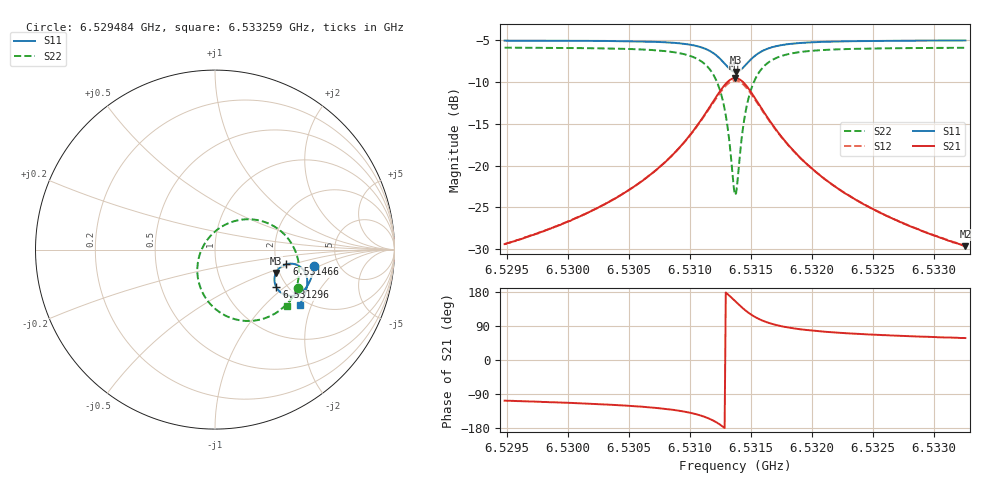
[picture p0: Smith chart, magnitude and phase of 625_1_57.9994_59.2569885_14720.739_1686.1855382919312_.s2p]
#  HZ  S  RI  R  50.00
! Rohde & Schwarz Vector Network Analyzer
! Rohde-Schwarz,ZNB20-2Port,1311601062101988,3.16
! Created: UTC 3/21/2024, 1:18:17 AM
! freq[Hz]  re:S11  im:S11  re:S21  im:S21  re:S12  im:S12  re:S22  im:S22
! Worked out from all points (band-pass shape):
!   401 points, 6.529484 GHz to 6.533259 GHz, reference 50 ohm
!   highest |S21| = -9.53 dB at 6.531371 GHz (marker M1); lowest = -29.7 dB at 6.533259 GHz (marker M2)
!   |S21| within 3 dB of the highest: 6.531184 GHz to 6.531561 GHz (377.6 kHz wide, 0.00578 % of centre)
!   lowest |S11| = -8.8 dB at 6.531381 GHz (marker M3), VSWR 2.14, Z = 95.6 - j28.8 ohm
!   |S11| at or under -10 dB: nowhere
!   |S22| runs from -23.5 to -5.9 dB; largest |S21 - S12| = 0.014
!   S11 on the Smith chart (normalised r, x): 6.529484 GHz: 3.29, -0.89; 6.531296 GHz: 1.76, -0.88; 6.531466 GHz: 2.26, -0.44; 6.533259 GHz: 1.83, -1.64
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6.5294838e9  0.5529 -0.0929  -0.01 -0.0323  -0.0107 -0.0321  0.4625 -0.2113
6.5301161e9  0.5399 -0.1463  -0.0208 -0.0456  -0.0219 -0.0451  0.4268 -0.2707
6.5304275e9  0.5286 -0.1757  -0.0324 -0.0574  -0.034 -0.0566  0.3959 -0.3073
6.5307484e9  0.5081 -0.2113  -0.0589 -0.0774  -0.0611 -0.0756  0.3361 -0.3552
6.5309749e9  0.4764 -0.2411  -0.1056 -0.0974  -0.1086 -0.0935  0.2425 -0.392
6.5311353e9  0.4267 -0.2573  -0.1831 -0.0992  -0.1849 -0.0913  0.1021 -0.3853
6.5312297e9  0.3771 -0.2456  -0.259 -0.0619  -0.2565 -0.051  -0.0219 -0.3081
6.5312957e9  0.3418 -0.2096  -0.3091 0.0102  -0.3005 0.0206  -0.0915 -0.1776
6.531324e9  0.3329 -0.1854  -0.3188 0.055  -0.3077 0.0633  -0.0984 -0.102
6.5313523e9  0.3317 -0.1579  -0.3154 0.1042  -0.3027 0.1094  -0.0835 -0.0225
6.5313712e9  0.3356 -0.1393  -0.3048 0.1365  -0.2921 0.1393  -0.0605 0.0281
6.5313807e9  0.3391 -0.1305  -0.2974 0.1517  -0.2846 0.1535  -0.0452 0.0514
6.5313901e9  0.3435 -0.122  -0.2883 0.1661  -0.2758 0.1667  -0.028 0.0732
6.5314373e9  0.3754 -0.0901  -0.2281 0.2194  -0.2184 0.2159  0.0803 0.1491
6.5314656e9  0.3981 -0.0808  -0.187 0.2345  -0.1798 0.2302  0.1498 0.167
6.5315317e9  0.4456 -0.0816  -0.1049 0.2333  -0.1013 0.2295  0.287 0.1499
6.531626e9  0.4862 -0.106  -0.0356 0.1966  -0.034 0.1945  0.398 0.0725
6.5317676e9  0.5091 -0.1446  0.00484 0.1439  0.00592 0.1432  0.4563 -0.0323
6.5320035e9  0.5143 -0.1893  0.0206 0.0933  0.0217 0.093  0.4681 -0.1362
6.5322678e9  0.5086 -0.2232  0.0224 0.0648  0.0235 0.0646  0.4567 -0.2003
6.5326358e9  0.496 -0.2587  0.0208 0.0444  0.0216 0.0443  0.4357 -0.2545
6.5332587e9  0.471 -0.3065  0.0174 0.0279  0.0181 0.0275  0.4004 -0.3123
